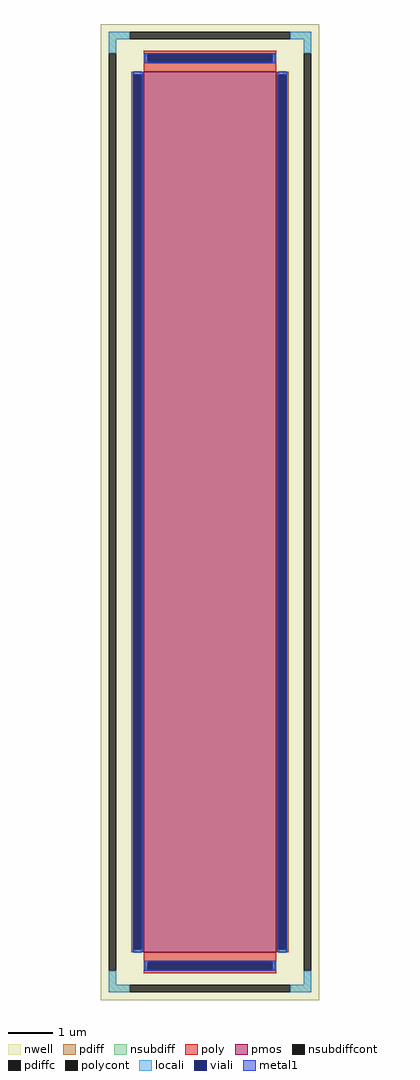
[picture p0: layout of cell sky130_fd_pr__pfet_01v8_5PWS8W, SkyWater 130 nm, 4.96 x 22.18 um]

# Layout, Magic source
magic
tech sky130A
<< nwell >>
rect -248 -1109 248 1109
<< pmos >>
rect -150 -1000 150 1000
<< pdiff >>
rect -179 994 -150 1000
rect -179 -994 -173 994
rect -156 -994 -150 994
rect -179 -1000 -150 -994
rect 150 994 179 1000
rect 150 -994 156 994
rect 173 -994 179 994
rect 150 -1000 179 -994
<< pdiffc >>
rect -173 -994 -156 994
rect 156 -994 173 994
<< nsubdiff >>
rect -230 1074 -182 1091
rect 182 1074 230 1091
rect -230 1043 -213 1074
rect 213 1043 230 1074
rect -230 -1074 -213 -1043
rect 213 -1074 230 -1043
rect -230 -1091 -182 -1074
rect 182 -1091 230 -1074
<< nsubdiffcont >>
rect -182 1074 182 1091
rect -230 -1043 -213 1043
rect 213 -1043 230 1043
rect -182 -1091 182 -1074
<< poly >>
rect -150 1040 150 1048
rect -150 1023 -142 1040
rect 142 1023 150 1040
rect -150 1000 150 1023
rect -150 -1023 150 -1000
rect -150 -1040 -142 -1023
rect 142 -1040 150 -1023
rect -150 -1048 150 -1040
<< polycont >>
rect -142 1023 142 1040
rect -142 -1040 142 -1023
<< locali >>
rect -230 1074 -182 1091
rect 182 1074 230 1091
rect -230 1043 -213 1074
rect 213 1043 230 1074
rect -150 1023 -142 1040
rect 142 1023 150 1040
rect -173 994 -156 1002
rect -173 -1002 -156 -994
rect 156 994 173 1002
rect 156 -1002 173 -994
rect -150 -1040 -142 -1023
rect 142 -1040 150 -1023
rect -230 -1074 -213 -1043
rect 213 -1074 230 -1043
rect -230 -1091 -182 -1074
rect 182 -1091 230 -1074
<< viali >>
rect -142 1023 142 1040
rect -173 -994 -156 994
rect 156 -994 173 994
rect -142 -1040 142 -1023
<< metal1 >>
rect -148 1040 148 1043
rect -148 1023 -142 1040
rect 142 1023 148 1040
rect -148 1020 148 1023
rect -176 994 -153 1000
rect -176 -994 -173 994
rect -156 -994 -153 994
rect -176 -1000 -153 -994
rect 153 994 176 1000
rect 153 -994 156 994
rect 173 -994 176 994
rect 153 -1000 176 -994
rect -148 -1023 148 -1020
rect -148 -1040 -142 -1023
rect 142 -1040 148 -1023
rect -148 -1043 148 -1040
<< properties >>
string FIXED_BBOX -221 -1083 221 1083
string gencell sky130_fd_pr__pfet_01v8
string library sky130
string parameters w 20 l 3 m 1 nf 1 diffcov 100 polycov 100 guard 1 glc 1 grc 1 gtc 1 gbc 1 tbcov 100 rlcov 100 topc 1 botc 1 poverlap 0 doverlap 1 lmin 0.15 wmin 0.42 compatible {sky130_fd_pr__pfet_01v8  sky130_fd_pr__pfet_01v8_lvt sky130_fd_pr__pfet_01v8_hvt  sky130_fd_pr__pfet_g5v0d10v5} full_metal 1 viasrc 100 viadrn 100 viagate 100 viagb 0 viagr 0 viagl 0 viagt 0
<< end >>
